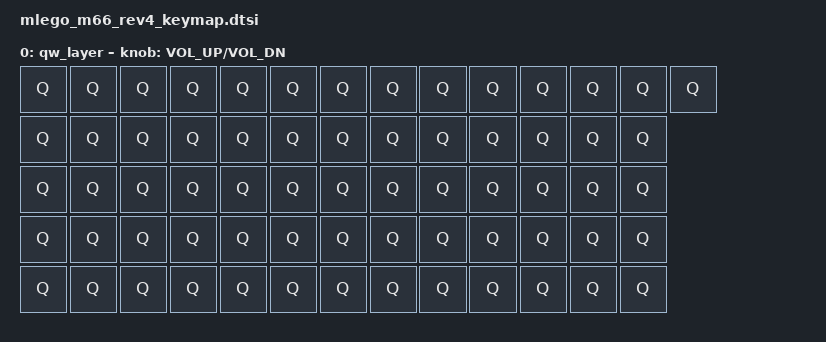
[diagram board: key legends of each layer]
/*
 * Copyright (c) 2022-2024 The ZMK Contributors
 *
 * SPDX-License-Identifier: MIT
 */
 
#define HOST_OS 1
#include <behaviors.dtsi>
#include <dt-bindings/zmk/keys.h>
#include <dt-bindings/zmk/outputs.h>
#include <dt-bindings/zmk/bt.h>
#include <dt-bindings/zmk/ext_power.h>
#include "zmk-helpers/helper.h"
#include "romanian.dtsi"
#include "my_keys.dtsi"

#define  QW 0
#define RSE 1
#define LWR 2
#define ADJ 3

/ {

    conditional_layers {
        compatible = "zmk,conditional-layers";
        tri_layer {
            if-layers = <LWR RSE>;
            then-layer = <ADJ>;
        };
    };

    behaviors {
        tlwr: tlwr {
            compatible = "zmk,behavior-tap-dance";
            #binding-cells = <0>;
            tapping-term-ms = <200>;
            bindings = <&mo LWR>, <&tog LWR>, <&trans>;
        };

        trse: trse {
            compatible = "zmk,behavior-tap-dance";
            #binding-cells = <0>;
            tapping-term-ms = <200>;
            bindings = <&mo RSE>, <&tog RSE>, <&trans>;
        };
    };

    keymap {
        compatible = "zmk,keymap";

        qw_layer {
            bindings = <
                &kp Q &kp Q &kp Q &kp Q &kp Q &kp Q &kp Q &kp Q &kp Q &kp Q &kp Q &kp Q &kp Q &kp Q
                &kp Q &kp Q &kp Q &kp Q &kp Q &kp Q &kp Q &kp Q &kp Q &kp Q &kp Q &kp Q &kp Q
                &kp Q &kp Q &kp Q &kp Q &kp Q &kp Q &kp Q &kp Q &kp Q &kp Q &kp Q &kp Q &kp Q
                &kp Q &kp Q &kp Q &kp Q &kp Q &kp Q &kp Q &kp Q &kp Q &kp Q &kp Q &kp Q &kp Q
                &kp Q &kp Q &kp Q &kp Q &kp Q &kp Q &kp Q &kp Q &kp Q &kp Q &kp Q &kp Q &kp Q
            >;
        sensor-bindings = <&inc_dec_kp C_VOL_UP C_VOL_DN>;
        };
    };
};
